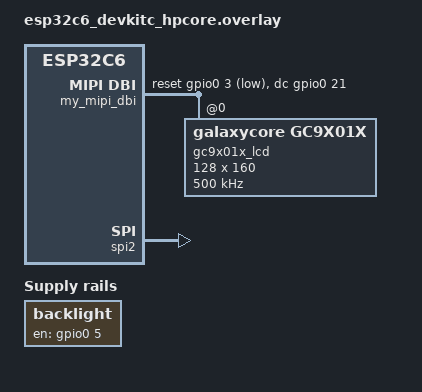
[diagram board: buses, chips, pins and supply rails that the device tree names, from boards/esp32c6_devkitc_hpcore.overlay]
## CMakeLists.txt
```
# SPDX-License-Identifier: Apache-2.0

cmake_minimum_required(VERSION 3.20.0)

find_package(Zephyr REQUIRED HINTS $ENV{ZEPHYR_BASE})
project (hologram_app)

target_sources(app PRIVATE src/main.c)
```

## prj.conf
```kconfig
# empty for now
CONFIG_MAIN_STACK_SIZE=4096
CONFIG_LOG=y

CONFIG_DISPLAY=y
CONFIG_LVGL=y
CONFIG_LV_Z_MEM_POOL_SIZE=16384
CONFIG_LV_FONT_MONTSERRAT_14=y
CONFIG_LV_COLOR_16_SWAP=y

CONFIG_DISPLAY_LOG_LEVEL_DBG=y
CONFIG_SPI_LOG_LEVEL_DBG=y
```

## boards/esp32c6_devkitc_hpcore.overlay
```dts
#include <zephyr/dt-bindings/mipi_dbi/mipi_dbi.h>
#include <zephyr/dt-bindings/display/panel.h>
#include <../dts/common/freq.h>

&spi2 {
	status = "okay";
	pinctrl-0 = <&spim2_default>;
	pinctrl-names = "default";
	cs-gpios = <&gpio0 18 GPIO_ACTIVE_LOW>;
};

/ {
	chosen {
		zephyr,display = &gc9x01x_lcd;
	};

	my_mipi_dbi {
		compatible = "zephyr,mipi-dbi-spi";
		status = "okay";
		#address-cells = <1>;
		#size-cells = <0>;
		spi-dev = <&spi2>;
		dc-gpios = <&gpio0 21 GPIO_ACTIVE_HIGH>;
		reset-gpios = <&gpio0 3 GPIO_ACTIVE_LOW>;

		gc9x01x_lcd: gc9x01x_lcd@0 {
			compatible = "galaxycore,gc9x01x";
			reg = <0>;
			mipi-max-frequency = <DT_FREQ_K(500)>;
			pixel-format = <PANEL_PIXEL_FORMAT_RGB_565>;
			width = <128>;
			height = <160>;
			display-inversion;
		};
	};

	backlight {
		compatible = "regulator-fixed";
		regulator-name = "backlight";
		enable-gpios = <&gpio0 5 GPIO_ACTIVE_HIGH>;
		regulator-boot-on;
	};
};
```

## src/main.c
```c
/*
 * SPDX-License-Identifier: Apache-2.0
 */

#include <zephyr/kernel.h>
#include <zephyr/device.h>
#include <zephyr/drivers/display.h>
#include <lvgl.h>

#include <zephyr/logging/log.h>

LOG_MODULE_REGISTER(main, LOG_LEVEL_INF);

int main(void)
{
	lv_obj_t *label = lv_label_create(lv_scr_act());
    	lv_label_set_text(label, "Hello World!");
    	lv_obj_align(label, LV_ALIGN_CENTER, 0, 0);
	lv_obj_set_style_bg_color(lv_scr_act(), lv_color_hex(0xFF0000), LV_PART_MAIN);
	lv_obj_set_style_bg_opa(lv_scr_act(), LV_OPA_COVER, LV_PART_MAIN);
	lv_refr_now(NULL);

	while (1) {
		//LOG_INF("Alive");
		lv_task_handler();
		k_sleep(K_MSEC(10));
	}
	return 0;
}

// int main(void)
// {
//     const struct device *display = DEVICE_DT_GET(DT_CHOSEN(zephyr_display));

//     if (!device_is_ready(display)) {
//         printk("Display not ready!\n");
//         return 0;
//     }

//     printk("Display ready!\n");

//     /* Fill screen with red */
//     struct display_buffer_descriptor desc = {
//         .buf_size = 128 * 128 * 2,
//         .width = 128,
//         .height = 128,
//         .pitch = 128,
//     };

//     uint8_t buf[128 * 128 * 2];
//     memset(buf, 0xFF, sizeof(buf)); /* white in RGB565 */

//     display_write(display, 0, 0, &desc, buf);

//     printk("Frame written!\n");

//     while (1) {
//         k_sleep(K_MSEC(1000));
//     }
// }
```
